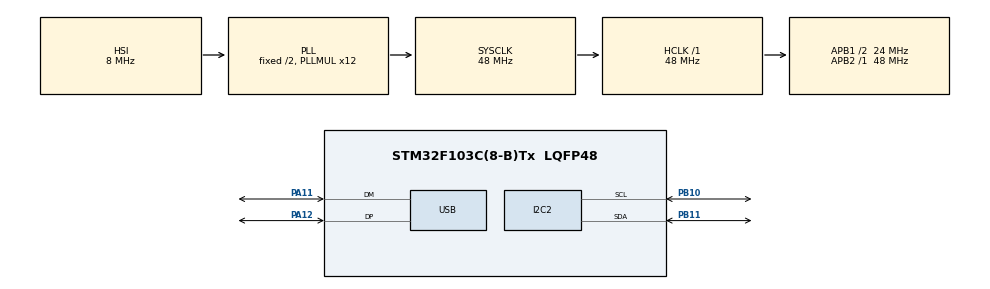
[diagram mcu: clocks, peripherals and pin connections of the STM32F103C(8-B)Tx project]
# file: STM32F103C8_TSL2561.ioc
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Mcu.Family=STM32F1
Mcu.Name=STM32F103C(8-B)Tx
Mcu.Package=LQFP48
NVIC.PriorityGroup=NVIC_PRIORITYGROUP_4
NVIC.USB_LP_CAN1_RX0_IRQn=true\:0\:0\:false\:false\:true\:false\:true\:true
PA11.Mode=Device
PA11.Signal=USB_DM
PA12.Mode=Device
PA12.Signal=USB_DP
PA13.Mode=Serial_Wire
PA13.Signal=SYS_JTMS-SWDIO
PA14.Mode=Serial_Wire
PA14.Signal=SYS_JTCK-SWCLK
PB10.Mode=I2C
PB10.Signal=I2C2_SCL
PB11.Mode=I2C
PB11.Signal=I2C2_SDA
ProjectManager.HeapSize=0x200
ProjectManager.StackSize=0x400
ProjectManager.TargetToolchain=STM32CubeIDE
RCC.AHBFreq_Value=48000000
RCC.APB1CLKDivider=RCC_HCLK_DIV2
RCC.APB1Freq_Value=24000000
RCC.APB1TimFreq_Value=48000000
RCC.APB2Freq_Value=48000000
RCC.APB2TimFreq_Value=48000000
RCC.HCLKFreq_Value=48000000
RCC.PLLMUL=RCC_PLL_MUL12
RCC.PLLSource=RCC_PLLSOURCE_HSI_DIV2
RCC.PLLSourceVirtual=RCC_PLLSOURCE_HSI_DIV2
RCC.SYSCLKFreq_VALUE=48000000
RCC.SYSCLKSource=RCC_SYSCLKSOURCE_PLLCLK
RCC.USBFreq_Value=48000000
USB_DEVICE.CLASS_NAME_FS=CDC
USB_DEVICE.VirtualMode=Cdc
USB_DEVICE.VirtualModeFS=Cdc_FS
VP_USB_DEVICE_VS_USB_DEVICE_CDC_FS.Mode=CDC_FS
board=custom

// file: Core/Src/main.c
/* USER CODE BEGIN Header */
/**
  ******************************************************************************
  * @file           : main.c
  * @brief          : Main program body
  ******************************************************************************
  * @attention
  *
  * Copyright (c) 2024 STMicroelectronics.
  * All rights reserved.
  *
  * This software is licensed under terms that can be found in the LICENSE file
  * in the root directory of this software component.
  * If no LICENSE file comes with this software, it is provided AS-IS.
  *
  ******************************************************************************
  */
/* USER CODE END Header */
#include "main.h"
#include "usb_device.h"

/* USER CODE BEGIN Includes */
#ifdef USB_ENABLED
	#include "usbd_cdc_if.h"
#endif

#include "tsl2561.h"
/* USER CODE END Includes */

/* USER CODE BEGIN PD */
#define USB_ENABLED
#define TSL2561_ADDRESS (0x39 << 1) // sensor address
/* USER CODE END PD */

I2C_HandleTypeDef hi2c2;

/* USER CODE BEGIN PV */
uint8_t txBuffer[255];
/* USER CODE END PV */

void SystemClock_Config(void);
static void MX_GPIO_Init(void);
static void MX_I2C2_Init(void);
/* USER CODE BEGIN PFP */
uint8_t CDC_Transmit_FS(uint8_t* Buf, uint16_t Len);
/* USER CODE END PFP */

int main(void)
{

  /* MCU Configuration--------------------------------------------------------*/

  /* Reset of all peripherals, Initializes the Flash interface and the Systick. */
  HAL_Init();

  /* Configure the system clock */
  SystemClock_Config();

  /* Initialize all configured peripherals */
  MX_GPIO_Init();
  MX_I2C2_Init();
  MX_USB_DEVICE_Init();
  /* USER CODE BEGIN 2 */
  uint8_t ret = tsl2561_init(&hi2c2, TSL2561_ADDRESS, TSL2561_INTEG_101);
  if(ret == HAL_ERROR){
	  // error trap
	  HAL_Delay(1);
  }
  /* USER CODE END 2 */

  /* Infinite loop */
  /* USER CODE BEGIN WHILE */
  while (1)
  {
	  float light = tsl2561_readLux();

	  uint8_t txLength = sprintf((char*)txBuffer, "Light: %.2f lux          \r", light);
	  CDC_Transmit_FS(txBuffer, txLength);
	  HAL_Delay(200);
    /* USER CODE END WHILE */

  }
}

void SystemClock_Config(void)
{
  RCC_OscInitTypeDef RCC_OscInitStruct = {0};
  RCC_ClkInitTypeDef RCC_ClkInitStruct = {0};
  RCC_PeriphCLKInitTypeDef PeriphClkInit = {0};

  /** Initializes the RCC Oscillators according to the specified parameters
  * in the RCC_OscInitTypeDef structure.
  */
  RCC_OscInitStruct.OscillatorType = RCC_OSCILLATORTYPE_HSI;
  RCC_OscInitStruct.HSIState = RCC_HSI_ON;
  RCC_OscInitStruct.HSICalibrationValue = RCC_HSICALIBRATION_DEFAULT;
  RCC_OscInitStruct.PLL.PLLState = RCC_PLL_ON;
  RCC_OscInitStruct.PLL.PLLSource = RCC_PLLSOURCE_HSI_DIV2;
  RCC_OscInitStruct.PLL.PLLMUL = RCC_PLL_MUL12;
  if (HAL_RCC_OscConfig(&RCC_OscInitStruct) != HAL_OK)
  {
    Error_Handler();
  }

  /** Initializes the CPU, AHB and APB buses clocks
  */
  RCC_ClkInitStruct.ClockType = RCC_CLOCKTYPE_HCLK|RCC_CLOCKTYPE_SYSCLK
                              |RCC_CLOCKTYPE_PCLK1|RCC_CLOCKTYPE_PCLK2;
  RCC_ClkInitStruct.SYSCLKSource = RCC_SYSCLKSOURCE_PLLCLK;
  RCC_ClkInitStruct.AHBCLKDivider = RCC_SYSCLK_DIV1;
  RCC_ClkInitStruct.APB1CLKDivider = RCC_HCLK_DIV2;
  RCC_ClkInitStruct.APB2CLKDivider = RCC_HCLK_DIV1;

  if (HAL_RCC_ClockConfig(&RCC_ClkInitStruct, FLASH_LATENCY_1) != HAL_OK)
  {
    Error_Handler();
  }
  PeriphClkInit.PeriphClockSelection = RCC_PERIPHCLK_USB;
  PeriphClkInit.UsbClockSelection = RCC_USBCLKSOURCE_PLL;
  if (HAL_RCCEx_PeriphCLKConfig(&PeriphClkInit) != HAL_OK)
  {
    Error_Handler();
  }
}

static void MX_I2C2_Init(void)
{

  hi2c2.Instance = I2C2;
  hi2c2.Init.ClockSpeed = 100000;
  hi2c2.Init.DutyCycle = I2C_DUTYCYCLE_2;
  hi2c2.Init.OwnAddress1 = 0;
  hi2c2.Init.AddressingMode = I2C_ADDRESSINGMODE_7BIT;
  hi2c2.Init.DualAddressMode = I2C_DUALADDRESS_DISABLE;
  hi2c2.Init.OwnAddress2 = 0;
  hi2c2.Init.GeneralCallMode = I2C_GENERALCALL_DISABLE;
  hi2c2.Init.NoStretchMode = I2C_NOSTRETCH_DISABLE;
  if (HAL_I2C_Init(&hi2c2) != HAL_OK)
  {
    Error_Handler();
  }

}

static void MX_GPIO_Init(void)
{

  /* GPIO Ports Clock Enable */
  __HAL_RCC_GPIOB_CLK_ENABLE();
  __HAL_RCC_GPIOA_CLK_ENABLE();

}

void Error_Handler(void)
{
  __disable_irq();
  while (1)
  {
  }
}
